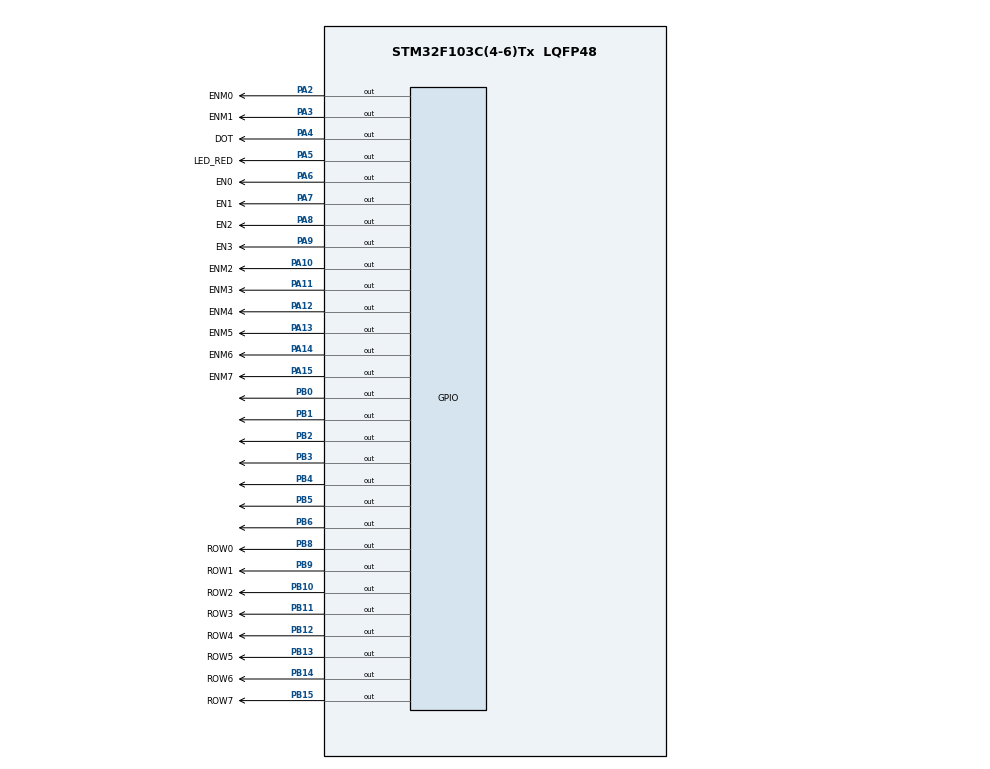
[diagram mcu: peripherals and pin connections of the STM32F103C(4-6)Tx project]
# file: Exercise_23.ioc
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Mcu.Family=STM32F1
Mcu.Name=STM32F103C(4-6)Tx
Mcu.Package=LQFP48
NVIC.PriorityGroup=NVIC_PRIORITYGROUP_4
NVIC.TIM2_IRQn=true\:0\:0\:false\:false\:true\:true\:true
PA10.GPIO_Label=ENM2
PA10.Signal=GPIO_Output
PA11.GPIO_Label=ENM3
PA11.Signal=GPIO_Output
PA12.GPIO_Label=ENM4
PA12.Signal=GPIO_Output
PA13.GPIO_Label=ENM5
PA13.Signal=GPIO_Output
PA14.GPIO_Label=ENM6
PA14.Signal=GPIO_Output
PA15.GPIO_Label=ENM7
PA15.Signal=GPIO_Output
PA2.GPIO_Label=ENM0
PA2.Signal=GPIO_Output
PA3.GPIO_Label=ENM1
PA3.Signal=GPIO_Output
PA4.GPIO_Label=DOT
PA4.Signal=GPIO_Output
PA5.GPIO_Label=LED_RED
PA5.Signal=GPIO_Output
PA6.GPIO_Label=EN0
PA6.Signal=GPIO_Output
PA7.GPIO_Label=EN1
PA7.Signal=GPIO_Output
PA8.GPIO_Label=EN2
PA8.Signal=GPIO_Output
PA9.GPIO_Label=EN3
PA9.Signal=GPIO_Output
PB0.Signal=GPIO_Output
PB1.Signal=GPIO_Output
PB10.GPIO_Label=ROW2
PB10.Signal=GPIO_Output
PB11.GPIO_Label=ROW3
PB11.Signal=GPIO_Output
PB12.GPIO_Label=ROW4
PB12.Signal=GPIO_Output
PB13.GPIO_Label=ROW5
PB13.Signal=GPIO_Output
PB14.GPIO_Label=ROW6
PB14.Signal=GPIO_Output
PB15.GPIO_Label=ROW7
PB15.Signal=GPIO_Output
PB2.Signal=GPIO_Output
PB3.Signal=GPIO_Output
PB4.Signal=GPIO_Output
PB5.Signal=GPIO_Output
PB6.Signal=GPIO_Output
PB8.GPIO_Label=ROW0
PB8.Signal=GPIO_Output
PB9.GPIO_Label=ROW1
PB9.Signal=GPIO_Output
PD0-OSC_IN.Mode=HSE-External-Oscillator
PD0-OSC_IN.Signal=RCC_OSC_IN
PD1-OSC_OUT.Mode=HSE-External-Oscillator
PD1-OSC_OUT.Signal=RCC_OSC_OUT
ProjectManager.HeapSize=0x200
ProjectManager.StackSize=0x400
ProjectManager.TargetToolchain=STM32CubeIDE
RCC.AHBFreq_Value=8000000
RCC.APB1Freq_Value=8000000
RCC.APB1TimFreq_Value=8000000
RCC.APB2Freq_Value=8000000
RCC.APB2TimFreq_Value=8000000
RCC.HCLKFreq_Value=8000000
TIM2.Period=10-1
TIM2.Prescaler=8000-1
VP_SYS_VS_ND.Mode=No_Debug
VP_TIM2_VS_ClockSourceINT.Mode=Internal
board=custom

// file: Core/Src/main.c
/* USER CODE BEGIN Header */
/**
  ******************************************************************************
  * @file           : main.c
  * @brief          : Main program body
  ******************************************************************************
  * @attention
  *
  * <h2><center>&copy; Copyright (c) 2021 STMicroelectronics.
  * All rights reserved.</center></h2>
  *
  * This software component is licensed by ST under BSD 3-Clause license,
  * the "License"; You may not use this file except in compliance with the
  * License. You may obtain a copy of the License at:
  *                        opensource.org/licenses/BSD-3-Clause
  *
  ******************************************************************************
  */
/* USER CODE END Header */
#include "main.h"

TIM_HandleTypeDef htim2;

void SystemClock_Config(void);
static void MX_GPIO_Init(void);
static void MX_TIM2_Init(void);

/* USER CODE BEGIN 0 */
uint8_t segNumber[10] = {0x40, 0x79, 0x24, 0x30, 0x19, 0x12, 0x02, 0x78, 0x00, 0x10};

void display7SEG(int num){
	uint8_t val = segNumber[num];
	HAL_GPIO_WritePin(GPIOB, GPIO_PIN_0, ((val>>0)&0x01));
	HAL_GPIO_WritePin(GPIOB, GPIO_PIN_1, ((val>>1)&0x01));
	HAL_GPIO_WritePin(GPIOB, GPIO_PIN_2, ((val>>2)&0x01));
	HAL_GPIO_WritePin(GPIOB, GPIO_PIN_3, ((val>>3)&0x01));
	HAL_GPIO_WritePin(GPIOB, GPIO_PIN_4, ((val>>4)&0x01));
	HAL_GPIO_WritePin(GPIOB, GPIO_PIN_5, ((val>>5)&0x01));
	HAL_GPIO_WritePin(GPIOB, GPIO_PIN_6, ((val>>6)&0x01));
}

int led_buffer [4] = {1 , 2 , 3 , 4};
void update7SEG(int index){
	switch(index){
		case 0:
			// Display the first 7 SEG with led_buffer [0]
			display7SEG(led_buffer[index]);
			break ;
		case 1:
			// Display the second 7 SEG with led_buffer [1]
			display7SEG(led_buffer[index]);
			break ;
		case 2:
			// Display the third 7 SEG with led_buffer [2]
			display7SEG(led_buffer[index]);
			break ;
		case 3:
			// Display the fourth 7 SEG with led_buffer [3]
			display7SEG(led_buffer[index]);
			break ;
		default:
			break ;
	}
}

void updateClockBuffer(int hour, int minute){
	if(hour > 9){
		led_buffer[1] = hour%10;
		led_buffer[0] = hour/10;
	}
	else{
		led_buffer[1] = hour;
		led_buffer[0] = 0;
	}
	if(minute > 9){
		led_buffer[3] = minute%10;
		led_buffer[2] = minute/10;
	}
	else{
		led_buffer[3] = minute;
		led_buffer[2] = 0;
	}
}

int TIMER_CYCLE = 10;

int timer0_counter0 = 0;
int timer0_flag0 = 0;

int timer0_counter1 = 0;
int timer0_flag1 = 0;

int timer0_counter2 = 0;
int timer0_flag2 = 0;

void setTimer0 (int duration){
	timer0_counter0 = duration/TIMER_CYCLE;
	timer0_flag0 = 0;
}
void setTimer1 (int duration){
	timer0_counter1 = duration/TIMER_CYCLE;
	timer0_flag1 = 0;
}

void setTimer2 (int duration){
	timer0_counter2 = duration/TIMER_CYCLE;
	timer0_flag2 = 0;
}

void timer_run0(){
	if(timer0_counter0 > 0){
		timer0_counter0 --;
		if( timer0_counter0 == 0)
			timer0_flag0 = 1;
	}

	if(timer0_counter1 > 0){
		timer0_counter1 --;
		if( timer0_counter1 == 0)
			timer0_flag1 = 1;
	}

	if(timer0_counter2 > 0){
		timer0_counter2 --;
		if( timer0_counter2 == 0)
			timer0_flag2 = 1;
	}
}

void displayRow(uint8_t number){
	HAL_GPIO_WritePin(GPIOB, ROW0_Pin, ((number>>0)&0x01));
	HAL_GPIO_WritePin(GPIOB, ROW1_Pin, ((number>>1)&0x01));
	HAL_GPIO_WritePin(GPIOB, ROW2_Pin, ((number>>2)&0x01));
	HAL_GPIO_WritePin(GPIOB, ROW3_Pin, ((number>>3)&0x01));
	HAL_GPIO_WritePin(GPIOB, ROW4_Pin, ((number>>4)&0x01));
	HAL_GPIO_WritePin(GPIOB, ROW5_Pin, ((number>>5)&0x01));
	HAL_GPIO_WritePin(GPIOB, ROW6_Pin, ((number>>6)&0x01));
	HAL_GPIO_WritePin(GPIOB, ROW7_Pin, ((number>>7)&0x01));
}

void displayCol(uint8_t number){
	HAL_GPIO_WritePin(GPIOA, ENM0_Pin, ((number>>0)&0x01));
	HAL_GPIO_WritePin(GPIOA, ENM1_Pin, ((number>>1)&0x01));
	HAL_GPIO_WritePin(GPIOA, ENM2_Pin, ((number>>2)&0x01));
	HAL_GPIO_WritePin(GPIOA, ENM3_Pin, ((number>>3)&0x01));
	HAL_GPIO_WritePin(GPIOA, ENM4_Pin, ((number>>4)&0x01));
	HAL_GPIO_WritePin(GPIOA, ENM5_Pin, ((number>>5)&0x01));
	HAL_GPIO_WritePin(GPIOA, ENM6_Pin, ((number>>6)&0x01));
	HAL_GPIO_WritePin(GPIOA, ENM7_Pin, ((number>>7)&0x01));
}
void displayMatrix(uint8_t row, uint8_t col){
	displayRow(row);
	displayCol(col);
}
uint8_t matrix_row[8] = {0xfe,0xfd,0xfb,0xf7,0xef,0xdf,0xbf,0x7f};
uint8_t matrix_col[8] = {0xc3,0x81,0x99,0x99,0x81,0x81,0x99,0x99}; //A
uint8_t matrix [8][8] = {{0xc3,0x81,0x99,0x99,0x81,0x81,0x99,0x99},
						{0xe1,0xc0,0xcc,0xcc,0xc0,0xc0,0xcc,0xcc},
						{0xf0,0x60,0x66,0x66,0x60,0x60,0x66,0x66},
						{0x78,0x30,0x33,0x33,0x30,0x30,0x33,0x33},
						{0x3c,0x18,0x99,0x99,0x18,0x18,0x99,0x99},
						{0x1e,0x0c,0xcc,0xcc,0x0c,0x0c,0xcc,0xcc},
						{0x0f,0x06,0x66,0x66,0x06,0x06,0x66,0x66},
						{0x87,0x03,0x33,0x33,0x03,0x03,0x33,0x33}};

uint8_t row = 0xff;
uint8_t col = 0x00;
void updateLEDMatrix (int index, uint8_t col_val[]){
	switch(index){
	case 0:
		row = matrix_row[index];
		col = col_val[index];
		break;
	case 1:
		row = matrix_row[index];
		col = col_val[index];
		break;
	case 2:
		row = matrix_row[index];
		col = col_val[index];
		break;
	case 3:
		row = matrix_row[index];
		col = col_val[index];
		break;
	case 4:
		row = matrix_row[index];
		col = col_val[index];
		break;
	case 5:
		row = matrix_row[index];
		col = col_val[index];
		break;
	case 6:
		row = matrix_row[index];
		col = col_val[index];
		break;
	case 7:
		row = matrix_row[index];
		col = col_val[index];
		break;
	case 8:
		row = 0xff;
		col = 0x00;
		break;
	default :
		break ;
	}
}
uint8_t shiftData(uint8_t data, int shiftBit){
	uint8_t result = data;
	for(int i = 1; i <= shiftBit; i+=1){
		result = result<<1;
		uint8_t temp = (data>>(8-i))&0x01;
		result += temp;
	}
	return result;
}
uint8_t *updateStatus(int status, uint8_t col[])
{
  static uint8_t result[8];
  if(status == 0) return col;
  else{
    for(int i = 0; i < 8; i++){
      result[i] = shiftData(col[i], status);
    }
    return result;
  }
}
/* USER CODE END 0 */

int main(void)
{

  /* MCU Configuration--------------------------------------------------------*/

  /* Reset of all peripherals, Initializes the Flash interface and the Systick. */
  HAL_Init();

  /* Configure the system clock */
  SystemClock_Config();

  /* Initialize all configured peripherals */
  MX_GPIO_Init();
  MX_TIM2_Init();
  /* USER CODE BEGIN 2 */
  HAL_TIM_Base_Start_IT(&htim2);

  HAL_GPIO_WritePin(GPIOA, ENM0_Pin|ENM1_Pin|DOT_Pin|LED_RED_Pin
                            |EN0_Pin|EN1_Pin|EN2_Pin|EN3_Pin
                            |ENM2_Pin|ENM3_Pin|ENM4_Pin|ENM5_Pin
                            |ENM6_Pin|ENM7_Pin, GPIO_PIN_SET);
  /* USER CODE END 2 */

  /* Infinite loop */
  /* USER CODE BEGIN WHILE */
  int hour = 15 , minute = 8 , second = 50;
  setTimer0(1000);
  setTimer1(250);
  setTimer2(10);
  int select7SEG = 0;
  int selectMatrixRow = 0;
  int selectMatrixStatus = 0;
  int count = 0;
  while (1)
  {
    /* USER CODE END WHILE */

    /* USER CODE BEGIN 3 */
	  if(timer0_flag0 == 1){
		  setTimer0(1000);

		  HAL_GPIO_TogglePin(LED_RED_GPIO_Port, LED_RED_Pin);
		  HAL_GPIO_TogglePin(DOT_GPIO_Port, DOT_Pin);

		  if(second >= 60){
			  second = 0;
			  minute ++;
		  }
		  if(minute >= 60){
			  minute = 0;
			  hour ++;
		  }
		  if(hour >= 24){
			  hour = 0;
		  }
		  updateClockBuffer(hour, minute);
		  second ++;

	  }
	  if(timer0_flag1 == 1){
		  setTimer1(250);
		  switch (select7SEG){
			  case 0:
					HAL_GPIO_WritePin(GPIOA, EN0_Pin, GPIO_PIN_RESET);
					HAL_GPIO_WritePin(GPIOA, EN1_Pin, GPIO_PIN_SET);
					HAL_GPIO_WritePin(GPIOA, EN2_Pin, GPIO_PIN_SET);
					HAL_GPIO_WritePin(GPIOA, EN3_Pin, GPIO_PIN_SET);
					update7SEG(select7SEG);
					select7SEG = 1;
					break;
			  case 1:
					HAL_GPIO_WritePin(GPIOA, EN0_Pin, GPIO_PIN_SET);
					HAL_GPIO_WritePin(GPIOA, EN1_Pin, GPIO_PIN_RESET);
					HAL_GPIO_WritePin(GPIOA, EN2_Pin, GPIO_PIN_SET);
					HAL_GPIO_WritePin(GPIOA, EN3_Pin, GPIO_PIN_SET);
					update7SEG(select7SEG);
					select7SEG = 2;
					break;
			  case 2:
					HAL_GPIO_WritePin(GPIOA, EN0_Pin, GPIO_PIN_SET);
					HAL_GPIO_WritePin(GPIOA, EN1_Pin, GPIO_PIN_SET);
					HAL_GPIO_WritePin(GPIOA, EN2_Pin, GPIO_PIN_RESET);
					HAL_GPIO_WritePin(GPIOA, EN3_Pin, GPIO_PIN_SET);
					update7SEG(select7SEG);
					select7SEG = 3;
					break;
			  case 3:
					HAL_GPIO_WritePin(GPIOA, EN0_Pin, GPIO_PIN_SET);
					HAL_GPIO_WritePin(GPIOA, EN1_Pin, GPIO_PIN_SET);
					HAL_GPIO_WritePin(GPIOA, EN2_Pin, GPIO_PIN_SET);
					HAL_GPIO_WritePin(GPIOA, EN3_Pin, GPIO_PIN_RESET);
					update7SEG(select7SEG);
					select7SEG = 0;
					break;
		  }
	  }

//	  if(timer0_flag2 == 1){
//		  setTimer2(100);
//		  if(selectMatrixRow >= 9) selectMatrixRow = 0;
//
//		  updateLEDMatrix(selectMatrixRow, matrix_col);
//
//		  displayMatrix(row, col);
//
//		  selectMatrixRow ++;
//	  }

	  if(timer0_flag2 == 1){
		  setTimer2(10);
		  if(selectMatrixRow >= 9){
			  selectMatrixRow = 0;
			  count ++;
			  if(count == 5){
				  selectMatrixStatus ++;
				  count = 0;
			  }
			  if(selectMatrixStatus >= 8) selectMatrixStatus = 0;
		  }
		  updateLEDMatrix(selectMatrixRow, updateStatus(selectMatrixStatus, matrix_col));
		  displayMatrix(row, col);
		  selectMatrixRow ++;
	  }
  }
  /* USER CODE END 3 */
}

void SystemClock_Config(void)
{
  RCC_OscInitTypeDef RCC_OscInitStruct = {0};
  RCC_ClkInitTypeDef RCC_ClkInitStruct = {0};

  /** Initializes the RCC Oscillators according to the specified parameters
  * in the RCC_OscInitTypeDef structure.
  */
  RCC_OscInitStruct.OscillatorType = RCC_OSCILLATORTYPE_HSI;
  RCC_OscInitStruct.HSIState = RCC_HSI_ON;
  RCC_OscInitStruct.HSICalibrationValue = RCC_HSICALIBRATION_DEFAULT;
  RCC_OscInitStruct.PLL.PLLState = RCC_PLL_NONE;
  if (HAL_RCC_OscConfig(&RCC_OscInitStruct) != HAL_OK)
  {
    Error_Handler();
  }
  /** Initializes the CPU, AHB and APB buses clocks
  */
  RCC_ClkInitStruct.ClockType = RCC_CLOCKTYPE_HCLK|RCC_CLOCKTYPE_SYSCLK
                              |RCC_CLOCKTYPE_PCLK1|RCC_CLOCKTYPE_PCLK2;
  RCC_ClkInitStruct.SYSCLKSource = RCC_SYSCLKSOURCE_HSI;
  RCC_ClkInitStruct.AHBCLKDivider = RCC_SYSCLK_DIV1;
  RCC_ClkInitStruct.APB1CLKDivider = RCC_HCLK_DIV1;
  RCC_ClkInitStruct.APB2CLKDivider = RCC_HCLK_DIV1;

  if (HAL_RCC_ClockConfig(&RCC_ClkInitStruct, FLASH_LATENCY_0) != HAL_OK)
  {
    Error_Handler();
  }
}

static void MX_TIM2_Init(void)
{

  TIM_ClockConfigTypeDef sClockSourceConfig = {0};
  TIM_MasterConfigTypeDef sMasterConfig = {0};

  htim2.Instance = TIM2;
  htim2.Init.Prescaler = 8000-1;
  htim2.Init.CounterMode = TIM_COUNTERMODE_UP;
  htim2.Init.Period = 10-1;
  htim2.Init.ClockDivision = TIM_CLOCKDIVISION_DIV1;
  htim2.Init.AutoReloadPreload = TIM_AUTORELOAD_PRELOAD_DISABLE;
  if (HAL_TIM_Base_Init(&htim2) != HAL_OK)
  {
    Error_Handler();
  }
  sClockSourceConfig.ClockSource = TIM_CLOCKSOURCE_INTERNAL;
  if (HAL_TIM_ConfigClockSource(&htim2, &sClockSourceConfig) != HAL_OK)
  {
    Error_Handler();
  }
  sMasterConfig.MasterOutputTrigger = TIM_TRGO_RESET;
  sMasterConfig.MasterSlaveMode = TIM_MASTERSLAVEMODE_DISABLE;
  if (HAL_TIMEx_MasterConfigSynchronization(&htim2, &sMasterConfig) != HAL_OK)
  {
    Error_Handler();
  }

}

static void MX_GPIO_Init(void)
{
  GPIO_InitTypeDef GPIO_InitStruct = {0};

  /* GPIO Ports Clock Enable */
  __HAL_RCC_GPIOD_CLK_ENABLE();
  __HAL_RCC_GPIOA_CLK_ENABLE();
  __HAL_RCC_GPIOB_CLK_ENABLE();

  /*Configure GPIO pin Output Level */
  HAL_GPIO_WritePin(GPIOA, ENM0_Pin|ENM1_Pin|DOT_Pin|LED_RED_Pin
                          |EN0_Pin|EN1_Pin|EN2_Pin|EN3_Pin
                          |ENM2_Pin|ENM3_Pin|ENM4_Pin|ENM5_Pin
                          |ENM6_Pin|ENM7_Pin, GPIO_PIN_RESET);

  /*Configure GPIO pin Output Level */
  HAL_GPIO_WritePin(GPIOB, GPIO_PIN_0|GPIO_PIN_1|GPIO_PIN_2|ROW2_Pin
                          |ROW3_Pin|ROW4_Pin|ROW5_Pin|ROW6_Pin
                          |ROW7_Pin|GPIO_PIN_3|GPIO_PIN_4|GPIO_PIN_5
                          |GPIO_PIN_6|ROW0_Pin|ROW1_Pin, GPIO_PIN_RESET);

  /*Configure GPIO pins : ENM0_Pin ENM1_Pin DOT_Pin LED_RED_Pin
                           EN0_Pin EN1_Pin EN2_Pin EN3_Pin
                           ENM2_Pin ENM3_Pin ENM4_Pin ENM5_Pin
                           ENM6_Pin ENM7_Pin */
  GPIO_InitStruct.Pin = ENM0_Pin|ENM1_Pin|DOT_Pin|LED_RED_Pin
                          |EN0_Pin|EN1_Pin|EN2_Pin|EN3_Pin
                          |ENM2_Pin|ENM3_Pin|ENM4_Pin|ENM5_Pin
                          |ENM6_Pin|ENM7_Pin;
  GPIO_InitStruct.Mode = GPIO_MODE_OUTPUT_PP;
  GPIO_InitStruct.Pull = GPIO_NOPULL;
  GPIO_InitStruct.Speed = GPIO_SPEED_FREQ_LOW;
  HAL_GPIO_Init(GPIOA, &GPIO_InitStruct);

  /*Configure GPIO pins : PB0 PB1 PB2 ROW2_Pin
                           ROW3_Pin ROW4_Pin ROW5_Pin ROW6_Pin
                           ROW7_Pin PB3 PB4 PB5
                           PB6 ROW0_Pin ROW1_Pin */
  GPIO_InitStruct.Pin = GPIO_PIN_0|GPIO_PIN_1|GPIO_PIN_2|ROW2_Pin
                          |ROW3_Pin|ROW4_Pin|ROW5_Pin|ROW6_Pin
                          |ROW7_Pin|GPIO_PIN_3|GPIO_PIN_4|GPIO_PIN_5
                          |GPIO_PIN_6|ROW0_Pin|ROW1_Pin;
  GPIO_InitStruct.Mode = GPIO_MODE_OUTPUT_PP;
  GPIO_InitStruct.Pull = GPIO_NOPULL;
  GPIO_InitStruct.Speed = GPIO_SPEED_FREQ_LOW;
  HAL_GPIO_Init(GPIOB, &GPIO_InitStruct);

}

/* USER CODE BEGIN 4 */
/*int counter = 200;
void HAL_TIM_PeriodElapsedCallback (TIM_HandleTypeDef *htim){
	counter --;
	if(counter == 150){
		HAL_GPIO_WritePin(GPIOA, EN0_Pin, GPIO_PIN_RESET);
		HAL_GPIO_WritePin(GPIOA, EN1_Pin, GPIO_PIN_SET);
		HAL_GPIO_WritePin(GPIOA, EN2_Pin, GPIO_PIN_SET);
		HAL_GPIO_WritePin(GPIOA, EN3_Pin, GPIO_PIN_SET);
		update7SEG(0);
	}
	if(counter == 100){
		HAL_GPIO_WritePin(GPIOA, EN0_Pin, GPIO_PIN_SET);
		HAL_GPIO_WritePin(GPIOA, EN1_Pin, GPIO_PIN_RESET);
		HAL_GPIO_WritePin(GPIOA, EN2_Pin, GPIO_PIN_SET);
		HAL_GPIO_WritePin(GPIOA, EN3_Pin, GPIO_PIN_SET);
		update7SEG(1);
		HAL_GPIO_TogglePin(LED_RED_GPIO_Port, LED_RED_Pin);
		HAL_GPIO_TogglePin(DOT_GPIO_Port, DOT_Pin);
	}
	if(counter == 50){
		HAL_GPIO_WritePin(GPIOA, EN0_Pin, GPIO_PIN_SET);
		HAL_GPIO_WritePin(GPIOA, EN1_Pin, GPIO_PIN_SET);
		HAL_GPIO_WritePin(GPIOA, EN2_Pin, GPIO_PIN_RESET);
		HAL_GPIO_WritePin(GPIOA, EN3_Pin, GPIO_PIN_SET);
		update7SEG(2);
	}
	if(counter <= 0){
		counter = 200;
		HAL_GPIO_WritePin(GPIOA, EN0_Pin, GPIO_PIN_SET);
		HAL_GPIO_WritePin(GPIOA, EN1_Pin, GPIO_PIN_SET);
		HAL_GPIO_WritePin(GPIOA, EN2_Pin, GPIO_PIN_SET);
		HAL_GPIO_WritePin(GPIOA, EN3_Pin, GPIO_PIN_RESET);
		update7SEG(3);
		HAL_GPIO_TogglePin(LED_RED_GPIO_Port, LED_RED_Pin);
		HAL_GPIO_TogglePin(DOT_GPIO_Port, DOT_Pin);
	}
}*/
/*int counter = 100;
void HAL_TIM_PeriodElapsedCallback (TIM_HandleTypeDef *htim){
	timer_run0();
	counter --;
	if(counter == 75){
		HAL_GPIO_WritePin(GPIOA, EN0_Pin, GPIO_PIN_RESET);
		HAL_GPIO_WritePin(GPIOA, EN1_Pin, GPIO_PIN_SET);
		HAL_GPIO_WritePin(GPIOA, EN2_Pin, GPIO_PIN_SET);
		HAL_GPIO_WritePin(GPIOA, EN3_Pin, GPIO_PIN_SET);
		update7SEG(0);
	}
	if(counter == 50){
		HAL_GPIO_WritePin(GPIOA, EN0_Pin, GPIO_PIN_SET);
		HAL_GPIO_WritePin(GPIOA, EN1_Pin, GPIO_PIN_RESET);
		HAL_GPIO_WritePin(GPIOA, EN2_Pin, GPIO_PIN_SET);
		HAL_GPIO_WritePin(GPIOA, EN3_Pin, GPIO_PIN_SET);
		update7SEG(1);
	}
	if(counter == 25){
		HAL_GPIO_WritePin(GPIOA, EN0_Pin, GPIO_PIN_SET);
		HAL_GPIO_WritePin(GPIOA, EN1_Pin, GPIO_PIN_SET);
		HAL_GPIO_WritePin(GPIOA, EN2_Pin, GPIO_PIN_RESET);
		HAL_GPIO_WritePin(GPIOA, EN3_Pin, GPIO_PIN_SET);
		update7SEG(2);
	}
	if(counter <= 0){
		counter = 100;
		HAL_GPIO_WritePin(GPIOA, EN0_Pin, GPIO_PIN_SET);
		HAL_GPIO_WritePin(GPIOA, EN1_Pin, GPIO_PIN_SET);
		HAL_GPIO_WritePin(GPIOA, EN2_Pin, GPIO_PIN_SET);
		HAL_GPIO_WritePin(GPIOA, EN3_Pin, GPIO_PIN_RESET);
		update7SEG(3);
		HAL_GPIO_TogglePin(LED_RED_GPIO_Port, LED_RED_Pin);
		HAL_GPIO_TogglePin(DOT_GPIO_Port, DOT_Pin);
	}
}*/
//--------------//
void HAL_TIM_PeriodElapsedCallback (TIM_HandleTypeDef *htim){
	timer_run0();
}
/* USER CODE END 4 */

void Error_Handler(void)
{
  __disable_irq();
  while (1)
  {
  }
}

/************************ (C) COPYRIGHT STMicroelectronics *****END OF FILE****/
